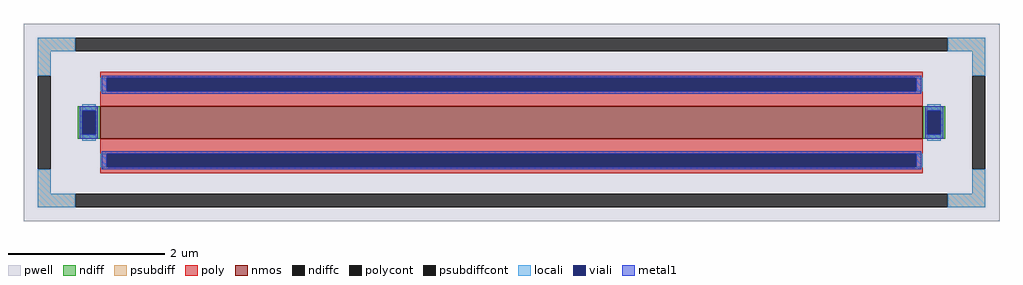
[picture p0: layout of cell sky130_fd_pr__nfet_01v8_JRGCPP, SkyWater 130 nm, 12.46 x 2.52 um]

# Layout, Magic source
magic
tech sky130A
<< pwell >>
rect -623 -126 623 126
<< nmos >>
rect -525 -21 525 21
<< ndiff >>
rect -554 15 -525 21
rect -554 -15 -548 15
rect -531 -15 -525 15
rect -554 -21 -525 -15
rect 525 15 554 21
rect 525 -15 531 15
rect 548 -15 554 15
rect 525 -21 554 -15
<< ndiffc >>
rect -548 -15 -531 15
rect 531 -15 548 15
<< psubdiff >>
rect -605 91 -557 108
rect 557 91 605 108
rect -605 60 -588 91
rect 588 60 605 91
rect -605 -91 -588 -60
rect 588 -91 605 -60
rect -605 -108 -557 -91
rect 557 -108 605 -91
<< psubdiffcont >>
rect -557 91 557 108
rect -605 -60 -588 60
rect 588 -60 605 60
rect -557 -108 557 -91
<< poly >>
rect -525 57 525 65
rect -525 40 -517 57
rect 517 40 525 57
rect -525 21 525 40
rect -525 -40 525 -21
rect -525 -57 -517 -40
rect 517 -57 525 -40
rect -525 -65 525 -57
<< polycont >>
rect -517 40 517 57
rect -517 -57 517 -40
<< locali >>
rect -605 91 -557 108
rect 557 91 605 108
rect -605 60 -588 91
rect 588 60 605 91
rect -525 40 -517 57
rect 517 40 525 57
rect -548 15 -531 23
rect -548 -23 -531 -15
rect 531 15 548 23
rect 531 -23 548 -15
rect -525 -57 -517 -40
rect 517 -57 525 -40
rect -605 -91 -588 -60
rect 588 -91 605 -60
rect -605 -108 -557 -91
rect 557 -108 605 -91
<< viali >>
rect -517 40 517 57
rect -548 -15 -531 15
rect 531 -15 548 15
rect -517 -57 517 -40
<< metal1 >>
rect -523 57 523 60
rect -523 40 -517 57
rect 517 40 523 57
rect -523 37 523 40
rect -551 15 -528 21
rect -551 -15 -548 15
rect -531 -15 -528 15
rect -551 -21 -528 -15
rect 528 15 551 21
rect 528 -15 531 15
rect 548 -15 551 15
rect 528 -21 551 -15
rect -523 -40 523 -37
rect -523 -57 -517 -40
rect 517 -57 523 -40
rect -523 -60 523 -57
<< properties >>
string FIXED_BBOX -596 -99 596 99
string gencell sky130_fd_pr__nfet_01v8
string library sky130
string parameters w 0.42 l 10.5 m 1 nf 1 diffcov 100 polycov 100 guard 1 glc 1 grc 1 gtc 1 gbc 1 tbcov 100 rlcov 100 topc 1 botc 1 poverlap 0 doverlap 1 lmin 0.15 wmin 0.42 compatible {sky130_fd_pr__nfet_01v8 sky130_fd_pr__nfet_01v8_lvt  sky130_fd_bs_flash__special_sonosfet_star  sky130_fd_pr__nfet_g5v0d10v5 sky130_fd_pr__nfet_05v0_nvt  sky130_fd_pr__nfet_03v3_nvt} full_metal 1 viasrc 100 viadrn 100 viagate 100 viagb 0 viagr 0 viagl 0 viagt 0
<< end >>
